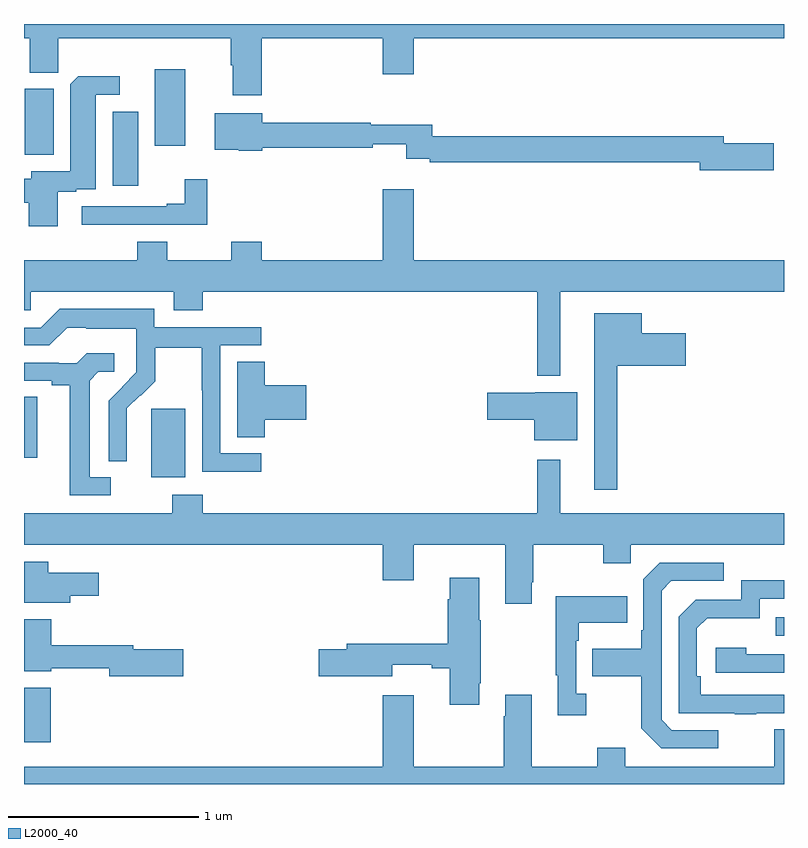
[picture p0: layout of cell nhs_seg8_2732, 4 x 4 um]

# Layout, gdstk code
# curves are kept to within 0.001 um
import gdstk
lib = gdstk.Library(unit=1e-6, precision=1e-09)
def R(c, l, rs):  # rectangles x0, y0, x1, y1
    for r in rs: c.add(gdstk.rectangle(r[:2], r[2:], *l))
def P(c, l, *ps):  # polygons
    for p in ps: c.add(gdstk.Polygon(p, *l))
L2000_40 = (2000, 40)

nhs_seg8_2732 = lib.new_cell('nhs_seg8_2732')
R(nhs_seg8_2732, L2000_40, [(283,1122.12,283.142,1122.407), (286.957,1122.681,287,1122.777), (283.67,1123.514,283.849,1123.875), (283,1123.617,283.069,1123.937), (283.466,1125.05,283.6,1125.439), (283.004,1125.211,283.156,1125.558), (283.688,1125.258,283.849,1125.661)])
P(nhs_seg8_2732, L2000_40, [(284.252,1125.824),(284.888,1125.824),(284.888,1125.636),(285.052,1125.636),(285.052,1125.824),(287,1125.824),(287,1125.9),(283,1125.9),(283,1125.824),(283.031,1125.824),(283.031,1125.643),(283.181,1125.643),(283.181,1125.824),(284.087,1125.824),(284.087,1125.683),(284.099,1125.683),(284.099,1125.525),(284.252,1125.525)],
  [(283.177,1125.018),(283.274,1125.018),(283.274,1125.03),(283.378,1125.03),(283.378,1125.528),(283.504,1125.528),(283.504,1125.626),(283.285,1125.626),(283.244,1125.584),(283.244,1125.126),(283.037,1125.126),(283.037,1125.086),(283,1125.086),(283,1124.958),(283.025,1124.958),(283.025,1124.835),(283.177,1124.835)],
  [(286.945,1125.272),(286.684,1125.272),(286.684,1125.308),(285.149,1125.308),(285.149,1125.371),(284.826,1125.371),(284.826,1125.379),(284.254,1125.379),(284.254,1125.43),(284.003,1125.43),(284.003,1125.239),(284.129,1125.239),(284.129,1125.232),(284.254,1125.232),(284.254,1125.25),(284.836,1125.25),(284.836,1125.268),(285.013,1125.268),(285.013,1125.191),(285.136,1125.191),(285.136,1125.172),(286.556,1125.172),(286.556,1125.13),(286.945,1125.13)],
  [(283.964,1125.082),(283.846,1125.082),(283.846,1124.953),(283.751,1124.953),(283.751,1124.94),(283.305,1124.94),(283.305,1124.844),(283.964,1124.844)],
  [(285.823,1124.492),(287,1124.492),(287,1124.656),(285.052,1124.656),(285.052,1125.031),(284.888,1125.031),(284.888,1124.656),(284.252,1124.656),(284.252,1124.755),(284.092,1124.755),(284.092,1124.656),(283.755,1124.656),(283.755,1124.755),(283.595,1124.755),(283.595,1124.656),(283,1124.656),(283,1124.394),(283.035,1124.394),(283.035,1124.492),(283.787,1124.492),(283.787,1124.393),(283.94,1124.393),(283.94,1124.492),(285.702,1124.492),(285.702,1124.048),(285.823,1124.048)],
  [(284.248,1123.641),(284.034,1123.641),(284.034,1124.208),(284.248,1124.208),(284.248,1124.304),(283.686,1124.304),(283.686,1124.401),(283.189,1124.401),(283.089,1124.301),(283,1124.301),(283,1124.208),(283.134,1124.208),(283.227,1124.301),(283.327,1124.301),(283.327,1124.297),(283.59,1124.297),(283.59,1124.163),(283.592,1124.163),(283.592,1124.066),(283.446,1123.918),(283.446,1123.6),(283.542,1123.6),(283.541,1123.877),(283.611,1123.947),(283.614,1123.944),(283.691,1124.021),(283.691,1124.196),(283.936,1124.196),(283.936,1123.972),(283.938,1123.972),(283.938,1123.543),(284.248,1123.543)],
  [(286.123,1124.102),(286.483,1124.102),(286.483,1124.272),(286.252,1124.272),(286.252,1124.377),(286.001,1124.377),(286.001,1123.449),(286.123,1123.449)],
  [(283.456,1123.515),(283.345,1123.515),(283.345,1124.023),(283.392,1124.07),(283.474,1124.07),(283.474,1124.167),(283.33,1124.167),(283.278,1124.115),(283.184,1124.115),(283.184,1124.118),(283,1124.118),(283,1124.022),(283.145,1124.022),(283.145,1124),(283.241,1124),(283.241,1123.419),(283.456,1123.419)],
  [(284.267,1123.817),(284.485,1123.817),(284.485,1124),(284.267,1124),(284.267,1124.123),(284.123,1124.123),(284.123,1123.726),(284.267,1123.726)],
  [(285.913,1123.963),(285.69,1123.963),(285.69,1123.958),(285.438,1123.958),(285.438,1123.816),(285.686,1123.816),(285.686,1123.709),(285.913,1123.709)],
  [(285.673,1122.961),(285.681,1122.961),(285.681,1123.16),(286.048,1123.16),(286.048,1123.061),(286.194,1123.061),(286.194,1123.16),(287,1123.16),(287,1123.324),(285.823,1123.324),(285.823,1123.606),(285.702,1123.606),(285.702,1123.324),(283.94,1123.324),(283.94,1123.423),(283.78,1123.423),(283.78,1123.324),(283,1123.324),(283,1123.16),(284.888,1123.16),(284.888,1122.972),(285.052,1122.972),(285.052,1123.16),(285.533,1123.16),(285.533,1122.849),(285.673,1122.849)],
  [(283.243,1122.89),(283.393,1122.89),(283.393,1123.012),(283.127,1123.012),(283.127,1123.069),(283,1123.069),(283,1122.854),(283.243,1122.854)],
  [(286.654,1122.183),(286.41,1122.183),(286.356,1122.237),(286.356,1122.918),(286.407,1122.969),(286.684,1122.969),(286.684,1123.065),(286.347,1123.065),(286.26,1122.978),(286.26,1122.709),(286.248,1122.709),(286.248,1122.613),(285.991,1122.613),(285.991,1122.466),(286.248,1122.466),(286.248,1122.193),(286.353,1122.087),(286.654,1122.087)],
  [(285.397,1122.43),(285.405,1122.43),(285.405,1122.761),(285.397,1122.761),(285.397,1122.985),(285.242,1122.985),(285.242,1122.872),(285.23,1122.872),(285.23,1122.637),(284.699,1122.637),(284.699,1122.608),(284.55,1122.608),(284.55,1122.466),(284.938,1122.466),(284.938,1122.527),(285.146,1122.527),(285.146,1122.508),(285.242,1122.508),(285.242,1122.318),(285.397,1122.318)],
  [(286.853,1122.273),(287,1122.273),(287,1122.369),(286.562,1122.369),(286.562,1122.466),(286.542,1122.466),(286.542,1122.72),(286.595,1122.773),(286.872,1122.773),(286.872,1122.876),(287,1122.876),(287,1122.972),(286.776,1122.972),(286.776,1122.87),(286.536,1122.87),(286.446,1122.78),(286.446,1122.273),(286.741,1122.273),(286.741,1122.268),(286.853,1122.268)],
  [(285.958,1122.374),(285.906,1122.374),(285.906,1122.653),(285.919,1122.653),(285.919,1122.749),(286.175,1122.749),(286.175,1122.889),(285.798,1122.889),(285.798,1122.473),(285.809,1122.473),(285.809,1122.261),(285.958,1122.261)],
  [(283.837,1122.608),(283.576,1122.608),(283.576,1122.629),(283.144,1122.629),(283.144,1122.766),(283,1122.766),(283,1122.494),(283.144,1122.494),(283.144,1122.508),(283.448,1122.508),(283.448,1122.466),(283.837,1122.466)],
  [(287,1122.582),(286.802,1122.582),(286.802,1122.616),(286.641,1122.616),(286.641,1122.486),(287,1122.486)],
  [(287,1122.187),(286.949,1122.187),(286.949,1121.992),(286.165,1121.992),(286.165,1122.091),(286.018,1122.091),(286.018,1121.992),(285.673,1121.992),(285.673,1122.37),(285.533,1122.37),(285.533,1122.257),(285.526,1122.257),(285.526,1121.992),(285.052,1121.992),(285.052,1122.367),(284.888,1122.367),(284.888,1121.992),(283,1121.992),(283,1121.9),(287,1121.9)])

lib.write_gds('nhs_seg8_2732.gds')
